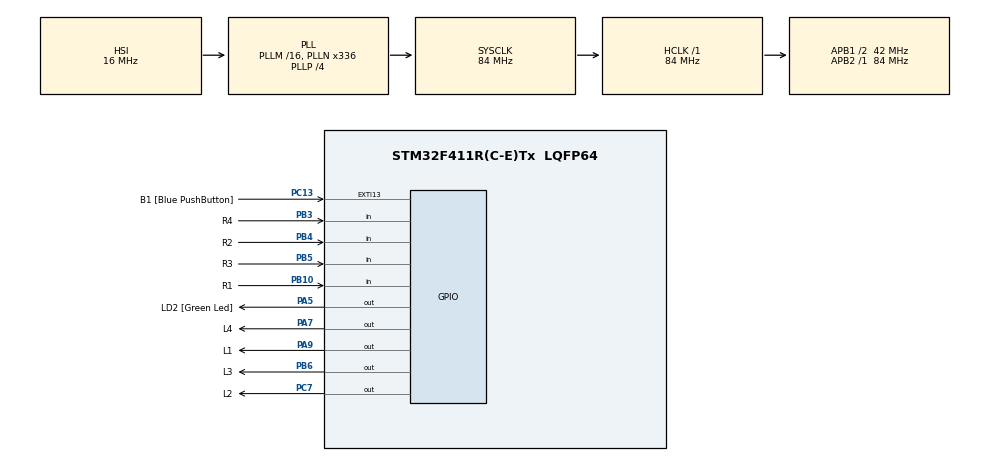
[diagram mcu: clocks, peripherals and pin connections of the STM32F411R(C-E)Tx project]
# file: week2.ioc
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Mcu.Family=STM32F4
Mcu.Name=STM32F411R(C-E)Tx
Mcu.Package=LQFP64
NVIC.PriorityGroup=NVIC_PRIORITYGROUP_0
PA13.GPIO_Label=TMS
PA13.Signal=SYS_JTMS-SWDIO
PA14.GPIO_Label=TCK
PA14.Signal=SYS_JTCK-SWCLK
PA2.GPIO_Label=USART_TX
PA2.Signal=USART2_TX
PA3.GPIO_Label=USART_RX
PA3.Signal=USART2_RX
PA5.GPIO_Label=LD2 [Green Led]
PA5.Signal=GPIO_Output
PA7.GPIO_Label=L4
PA7.GPIO_ModeDefaultOutputPP=GPIO_MODE_OUTPUT_OD
PA7.GPIO_PuPd=GPIO_NOPULL
PA7.Signal=GPIO_Output
PA9.GPIO_Label=L1
PA9.GPIO_ModeDefaultOutputPP=GPIO_MODE_OUTPUT_OD
PA9.GPIO_PuPd=GPIO_NOPULL
PA9.Signal=GPIO_Output
PB10.GPIO_Label=R1
PB10.GPIO_Mode=GPIO_MODE_INPUT
PB10.GPIO_PuPd=GPIO_PULLUP
PB10.Signal=GPIO_Input
PB3.GPIO_Label=R4
PB3.GPIO_Mode=GPIO_MODE_INPUT
PB3.GPIO_PuPd=GPIO_PULLUP
PB3.Signal=GPIO_Input
PB4.GPIO_Label=R2
PB4.GPIO_Mode=GPIO_MODE_INPUT
PB4.GPIO_PuPd=GPIO_PULLUP
PB4.Signal=GPIO_Input
PB5.GPIO_Label=R3
PB5.GPIO_Mode=GPIO_MODE_INPUT
PB5.GPIO_PuPd=GPIO_PULLUP
PB5.Signal=GPIO_Input
PB6.GPIO_Label=L3
PB6.GPIO_ModeDefaultOutputPP=GPIO_MODE_OUTPUT_OD
PB6.GPIO_PuPd=GPIO_NOPULL
PB6.Signal=GPIO_Output
PC13-ANTI_TAMP.GPIO_Label=B1 [Blue PushButton]
PC13-ANTI_TAMP.GPIO_ModeDefaultEXTI=GPIO_MODE_IT_FALLING
PC13-ANTI_TAMP.Signal=GPXTI13
PC14-OSC32_IN.Signal=RCC_OSC32_IN
PC15-OSC32_OUT.Signal=RCC_OSC32_OUT
PC7.GPIO_Label=L2
PC7.GPIO_ModeDefaultOutputPP=GPIO_MODE_OUTPUT_OD
PC7.GPIO_PuPd=GPIO_NOPULL
PC7.Signal=GPIO_Output
PH0\ -\ OSC_IN.Signal=RCC_OSC_IN
PH1\ -\ OSC_OUT.Signal=RCC_OSC_OUT
ProjectManager.HeapSize=0x200
ProjectManager.StackSize=0x400
ProjectManager.TargetToolchain=STM32CubeIDE
RCC.48MHZClocksFreq_Value=84000000
RCC.AHBFreq_Value=84000000
RCC.APB1CLKDivider=RCC_HCLK_DIV2
RCC.APB1Freq_Value=42000000
RCC.APB1TimFreq_Value=84000000
RCC.APB2Freq_Value=84000000
RCC.APB2TimFreq_Value=84000000
RCC.CortexFreq_Value=84000000
RCC.FLatency-AdvancedSettings=FLASH_LATENCY_2
RCC.HCLKFreq_Value=84000000
RCC.HSE_VALUE=8000000
RCC.HSI_VALUE=16000000
RCC.LSE_VALUE=32768
RCC.PLLN=336
RCC.PLLP=RCC_PLLP_DIV4
RCC.SYSCLKFreq_VALUE=84000000
RCC.SYSCLKSource=RCC_SYSCLKSOURCE_PLLCLK
RCC.VCOOutputFreq_Value=336000000
board=NUCLEO-F411RE

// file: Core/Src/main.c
/* USER CODE BEGIN Header */
/**
  ******************************************************************************
  * @file           : main.c
  * @brief          : Main program body
  ******************************************************************************
  * @attention
  *
  * Copyright (c) 2022 STMicroelectronics.
  * All rights reserved.
  *
  * This software is licensed under terms that can be found in the LICENSE file
  * in the root directory of this software component.
  * If no LICENSE file comes with this software, it is provided AS-IS.
  *
  ******************************************************************************
  */
/* USER CODE END Header */
#include "main.h"

/* USER CODE BEGIN PV */

uint16_t buttonState = 0;

/* USER CODE END PV */

void SystemClock_Config(void);
static void MX_GPIO_Init(void);
/* USER CODE BEGIN PFP */
void ButtonMatrixRead();
/* USER CODE END PFP */

int main(void)
{

  /* MCU Configuration--------------------------------------------------------*/

  /* Reset of all peripherals, Initializes the Flash interface and the Systick. */
  HAL_Init();

  /* Configure the system clock */
  SystemClock_Config();

  /* Initialize all configured peripherals */
  MX_GPIO_Init();

  /* Infinite loop */
  while (1)
  {

    /* USER CODE BEGIN 3 */
	  ButtonMatrixRead();
  }
  /* USER CODE END 3 */
}

void SystemClock_Config(void)
{
  RCC_OscInitTypeDef RCC_OscInitStruct = {0};
  RCC_ClkInitTypeDef RCC_ClkInitStruct = {0};

  /** Configure the main internal regulator output voltage
  */
  __HAL_RCC_PWR_CLK_ENABLE();
  __HAL_PWR_VOLTAGESCALING_CONFIG(PWR_REGULATOR_VOLTAGE_SCALE1);
  /** Initializes the RCC Oscillators according to the specified parameters
  * in the RCC_OscInitTypeDef structure.
  */
  RCC_OscInitStruct.OscillatorType = RCC_OSCILLATORTYPE_HSI;
  RCC_OscInitStruct.HSIState = RCC_HSI_ON;
  RCC_OscInitStruct.HSICalibrationValue = RCC_HSICALIBRATION_DEFAULT;
  RCC_OscInitStruct.PLL.PLLState = RCC_PLL_ON;
  RCC_OscInitStruct.PLL.PLLSource = RCC_PLLSOURCE_HSI;
  RCC_OscInitStruct.PLL.PLLM = 16;
  RCC_OscInitStruct.PLL.PLLN = 336;
  RCC_OscInitStruct.PLL.PLLP = RCC_PLLP_DIV4;
  RCC_OscInitStruct.PLL.PLLQ = 4;
  if (HAL_RCC_OscConfig(&RCC_OscInitStruct) != HAL_OK)
  {
    Error_Handler();
  }
  /** Initializes the CPU, AHB and APB buses clocks
  */
  RCC_ClkInitStruct.ClockType = RCC_CLOCKTYPE_HCLK|RCC_CLOCKTYPE_SYSCLK
                              |RCC_CLOCKTYPE_PCLK1|RCC_CLOCKTYPE_PCLK2;
  RCC_ClkInitStruct.SYSCLKSource = RCC_SYSCLKSOURCE_PLLCLK;
  RCC_ClkInitStruct.AHBCLKDivider = RCC_SYSCLK_DIV1;
  RCC_ClkInitStruct.APB1CLKDivider = RCC_HCLK_DIV2;
  RCC_ClkInitStruct.APB2CLKDivider = RCC_HCLK_DIV1;

  if (HAL_RCC_ClockConfig(&RCC_ClkInitStruct, FLASH_LATENCY_2) != HAL_OK)
  {
    Error_Handler();
  }
}

static void MX_GPIO_Init(void)
{
  GPIO_InitTypeDef GPIO_InitStruct = {0};

  /* GPIO Ports Clock Enable */
  __HAL_RCC_GPIOC_CLK_ENABLE();
  __HAL_RCC_GPIOH_CLK_ENABLE();
  __HAL_RCC_GPIOA_CLK_ENABLE();
  __HAL_RCC_GPIOB_CLK_ENABLE();

  /*Configure GPIO pin Output Level */
  HAL_GPIO_WritePin(GPIOA, LD2_Pin|L4_Pin|L1_Pin, GPIO_PIN_RESET);

  /*Configure GPIO pin Output Level */
  HAL_GPIO_WritePin(L2_GPIO_Port, L2_Pin, GPIO_PIN_RESET);

  /*Configure GPIO pin Output Level */
  HAL_GPIO_WritePin(L3_GPIO_Port, L3_Pin, GPIO_PIN_RESET);

  /*Configure GPIO pin : B1_Pin */
  GPIO_InitStruct.Pin = B1_Pin;
  GPIO_InitStruct.Mode = GPIO_MODE_IT_FALLING;
  GPIO_InitStruct.Pull = GPIO_NOPULL;
  HAL_GPIO_Init(B1_GPIO_Port, &GPIO_InitStruct);

  /*Configure GPIO pins : USART_TX_Pin USART_RX_Pin */
  GPIO_InitStruct.Pin = USART_TX_Pin|USART_RX_Pin;
  GPIO_InitStruct.Mode = GPIO_MODE_AF_PP;
  GPIO_InitStruct.Pull = GPIO_NOPULL;
  GPIO_InitStruct.Speed = GPIO_SPEED_FREQ_VERY_HIGH;
  GPIO_InitStruct.Alternate = GPIO_AF7_USART2;
  HAL_GPIO_Init(GPIOA, &GPIO_InitStruct);

  /*Configure GPIO pin : LD2_Pin */
  GPIO_InitStruct.Pin = LD2_Pin;
  GPIO_InitStruct.Mode = GPIO_MODE_OUTPUT_PP;
  GPIO_InitStruct.Pull = GPIO_NOPULL;
  GPIO_InitStruct.Speed = GPIO_SPEED_FREQ_LOW;
  HAL_GPIO_Init(LD2_GPIO_Port, &GPIO_InitStruct);

  /*Configure GPIO pins : L4_Pin L1_Pin */
  GPIO_InitStruct.Pin = L4_Pin|L1_Pin;
  GPIO_InitStruct.Mode = GPIO_MODE_OUTPUT_OD;
  GPIO_InitStruct.Pull = GPIO_NOPULL;
  GPIO_InitStruct.Speed = GPIO_SPEED_FREQ_LOW;
  HAL_GPIO_Init(GPIOA, &GPIO_InitStruct);

  /*Configure GPIO pins : R1_Pin R4_Pin R2_Pin R3_Pin */
  GPIO_InitStruct.Pin = R1_Pin|R4_Pin|R2_Pin|R3_Pin;
  GPIO_InitStruct.Mode = GPIO_MODE_INPUT;
  GPIO_InitStruct.Pull = GPIO_PULLUP;
  HAL_GPIO_Init(GPIOB, &GPIO_InitStruct);

  /*Configure GPIO pin : L2_Pin */
  GPIO_InitStruct.Pin = L2_Pin;
  GPIO_InitStruct.Mode = GPIO_MODE_OUTPUT_OD;
  GPIO_InitStruct.Pull = GPIO_NOPULL;
  GPIO_InitStruct.Speed = GPIO_SPEED_FREQ_LOW;
  HAL_GPIO_Init(L2_GPIO_Port, &GPIO_InitStruct);

  /*Configure GPIO pin : L3_Pin */
  GPIO_InitStruct.Pin = L3_Pin;
  GPIO_InitStruct.Mode = GPIO_MODE_OUTPUT_OD;
  GPIO_InitStruct.Pull = GPIO_NOPULL;
  GPIO_InitStruct.Speed = GPIO_SPEED_FREQ_LOW;
  HAL_GPIO_Init(L3_GPIO_Port, &GPIO_InitStruct);

}

/* USER CODE BEGIN 4 */

GPIO_TypeDef* BTRport[4] = {R1_GPIO_Port, R2_GPIO_Port, R3_GPIO_Port, R4_GPIO_Port};
uint16_t BTRpin[4] = {R1_Pin, R2_Pin, R3_Pin, R4_Pin};

GPIO_TypeDef* BTLport[4] = {L1_GPIO_Port, L2_GPIO_Port, L3_GPIO_Port, L4_GPIO_Port};
uint16_t BTLpin[4] = {L1_Pin, L2_Pin, L3_Pin, L4_Pin};

uint8_t check_p = 1;
uint8_t count = 0;
uint8_t pos = 0;
uint8_t false = 0;

void ButtonMatrixRead(){

	static uint8_t L = 0;
	static uint32_t timeStamp = 0;
	if (HAL_GetTick() - timeStamp >= 100){
		timeStamp = HAL_GetTick();

		for (int i = 0; i<4; i++){

			if (HAL_GPIO_ReadPin(BTRport[i], BTRpin[i]) == GPIO_PIN_RESET){

				pos = i + (L*4);

				if (pos == 3){
					L = 0;
					false = 0;
					count = 0;
					check_p = 1;
					HAL_GPIO_WritePin(LD2_GPIO_Port, LD2_Pin, GPIO_PIN_RESET);
				}
				else if (pos == 7){
					false -= 1;
					count -= 1;
					if (false == 0){
						check_p = 1;
					}
				}
				else if (pos == 15){
					if ((check_p == 1)&&(count == 11)){
						HAL_GPIO_WritePin(LD2_GPIO_Port, LD2_Pin, GPIO_PIN_SET);
						L = 0;
						count = 0;
						check_p = 1;
					}
					else{
						HAL_GPIO_WritePin(LD2_GPIO_Port, LD2_Pin, GPIO_PIN_RESET);
					}
				}
				else if ((pos != 11)&&(pos != 13)&&(pos != 14)){

					if ((count == 0)&&(pos==6)){
						check_p = (check_p&&1);
					}

					else if (((count == 1)||(count == 2)||(count == 10))&&(pos==10)){
						check_p = (check_p&&1);
					}

					else if ((count == 3)&&(pos==4)){
						check_p = (check_p&&1);
					}

					else if (((count == 4)||(count == 6)||(count == 7)||(count == 8))&&(pos==12)){
						check_p = (check_p&&1);
					}

					else if ((count == 5)&&(pos==5)){
						check_p = (check_p&&1);
					}

					else if ((count == 9)&&(pos==0)){
						check_p = (check_p&&1);
					}
					else{
						check_p = 0;
					}
					if (check_p == 0){
						false += 1;
					}
					count += 1;
				}
			}
		}

		HAL_GPIO_WritePin(BTLport[L], BTLpin[L], GPIO_PIN_SET);
		uint8_t L_p = (L+1)%4;
		HAL_GPIO_WritePin(BTLport[L_p], BTLpin[L_p], GPIO_PIN_RESET);
		L = L_p;

	}
}

/* USER CODE END 4 */

void Error_Handler(void)
{
  __disable_irq();
  while (1)
  {
  }
}
